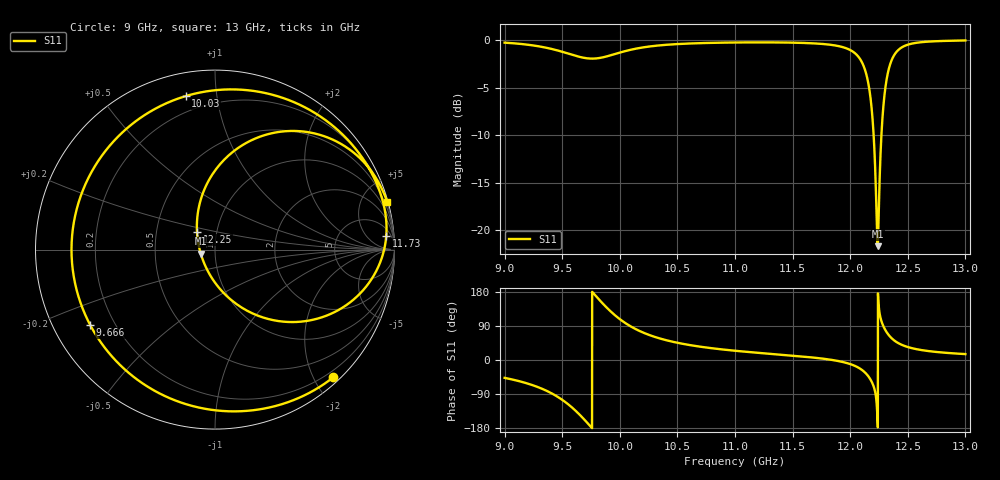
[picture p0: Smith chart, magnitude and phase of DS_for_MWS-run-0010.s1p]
! TOUCHSTONE file generated by CST DESIGN STUDIO
! Date and time: Tue Feb  4 17:29:55 2025
! Project name: C:\Work\MatlabApps\UnitCellOptimizationMatlab\CST\unitcell.cst
! Tree item: Tasks\Sweep1\SPara1\S-Parameters
! Header version: 2024
! Port assignment regex: !\s*Touchstone port\s*([0-9]+)\s*=\s*(CST MWS port|CST DES external port|CST DES block port)\s*(.+)\s* \(\"(.*)\"\)(\s*mode\s*([0-9]+))?.*
! Touchstone port assignment:
! Touchstone port 1 = CST DES external port 1 ("")
# GHz S MA R 50
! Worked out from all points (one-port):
!   4001 points, 9 GHz to 13 GHz, reference 50 ohm
!   lowest |S11| = -21.7 dB at 12.24 GHz (marker M1), VSWR 1.18, Z = 42.6 - j2.01 ohm
!   |S11| at or under -10 dB: 12.2 GHz to 12.27 GHz (67.47 MHz wide, 0.551 % of centre)
!   S11 on the Smith chart (normalised r, x): 9 GHz: 0.10, -2.29; 9.666 GHz: 0.11, -0.28; 10.03 GHz: 0.12, +0.82; 11.73 GHz: 10, +19; 12.25 GHz: 0.80, +0.16; 13 GHz: 0.11, +7.30
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9  0.9697 -47.1
9.268  0.9338 -69.1
9.5  0.8686 -105.0
9.584  0.8383 -125.0
9.666  0.8124 -148.9
9.741  0.8001 -173.6
9.812  0.8035 162.1
9.908  0.8281 131.8
10  0.86 107.8
10.032  0.8708 100.8
10.246  0.924 67.1
10.5  0.9534 45.5
11  0.9719 24.4
11.5  0.97 11.5
11.734  0.9573 4.6
12  0.8872 -10.7
12.091  0.7861 -23.8
12.159  0.5849 -43.6
12.199  0.3495 -65.9
12.225  0.147 -100.1
12.238  0.08247 -163.5
12.25  0.141 135.3
12.282  0.4043 93.4
12.322  0.6497 70.9
12.4  0.8646 47.8
12.5  0.9463 34.2
12.675  0.982 23.7
13  0.9961 15.6
